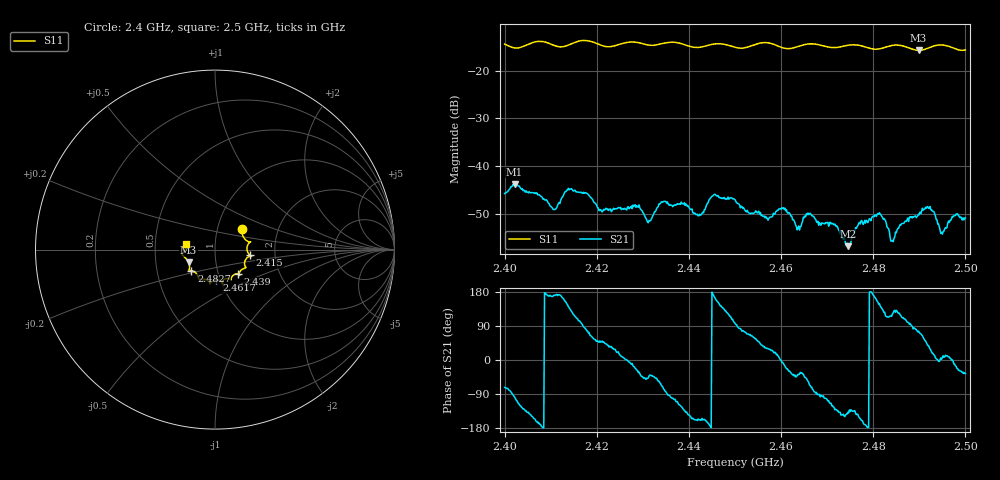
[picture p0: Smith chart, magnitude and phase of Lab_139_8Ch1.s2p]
# Hz S RI R 50
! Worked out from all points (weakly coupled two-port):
!   601 points, 2.4 GHz to 2.5 GHz, reference 50 ohm
!   highest |S21| = -43.80 dB at 2.4022 GHz (marker M1); lowest = -56.8 dB at 2.4745 GHz (marker M2)
!   lowest |S11| = -15.7 dB at 2.4898 GHz (marker M3), VSWR 1.39, Z = 36.8 - j5.42 ohm
!   |S11| at or under -10 dB: start of sweep to end of sweep
!   S12 and S22 are empty: the file has one direction only
!   S11 on the Smith chart (normalised r, x): 2.4 GHz: 1.31, +0.31; 2.415 GHz: 1.48, -0.10; 2.439 GHz: 1.24, -0.35; 2.4617 GHz: 0.96, -0.34; 2.4827 GHz: 0.75, -0.18; 2.5 GHz: 0.72, +0.05
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2.4e9  0.1512 0.1152  0.00156 -0.00489  0 0  0 0
2.402167e9  0.1537 0.0801  -0.000845 -0.0064  0 0  0 0
2.410667e9  0.1829 0.0266  -0.00344 0.000543  0 0  0 0
2.415e9  0.1932 -0.0315  -0.0027 0.00474  0 0  0 0
2.416667e9  0.2035 -0.0384  -0.000649 0.00526  0 0  0 0
2.431167e9  0.1484 -0.1116  0.00172 -0.00187  0 0  0 0
2.433333e9  0.1361 -0.1302  0.00213 -0.00307  0 0  0 0
2.439e9  0.1293 -0.1361  -0.00282 -0.003  0 0  0 0
2.442167e9  0.0995 -0.1447  -0.00277 -0.00114  0 0  0 0
2.445333e9  0.0883 -0.1683  -0.00489 0.000759  0 0  0 0
2.45e9  0.0711 -0.1613  -0.000518 0.0044  0 0  0 0
2.461667e9  0.00823 -0.1703  0.00282 -0.0016  0 0  0 0
2.463833e9  -0.0189 -0.1796  0.00183 -0.00146  0 0  0 0
2.466667e9  -0.0271 -0.1896  0.000933 -0.00286  0 0  0 0
2.4745e9  -0.0829 -0.1653  -0.00107 -0.000962  0 0  0 0
2.477167e9  -0.0908 -0.1598  -0.00223 -0.00104  0 0  0 0
2.482667e9  -0.1317 -0.1174  -0.0012 0.00238  0 0  0 0
2.483333e9  -0.1376 -0.1171  -0.000866 0.00201  0 0  0 0
2.489833e9  -0.1471 -0.0715  0.000745 0.00304  0 0  0 0
2.492167e9  -0.1698 -0.0413  0.00305 0.00199  0 0  0 0
2.495e9  -0.1842 -0.0274  0.00191 0.000227  0 0  0 0
2.5e9  -0.162 0.0315  0.00232 -0.00166  0 0  0 0
